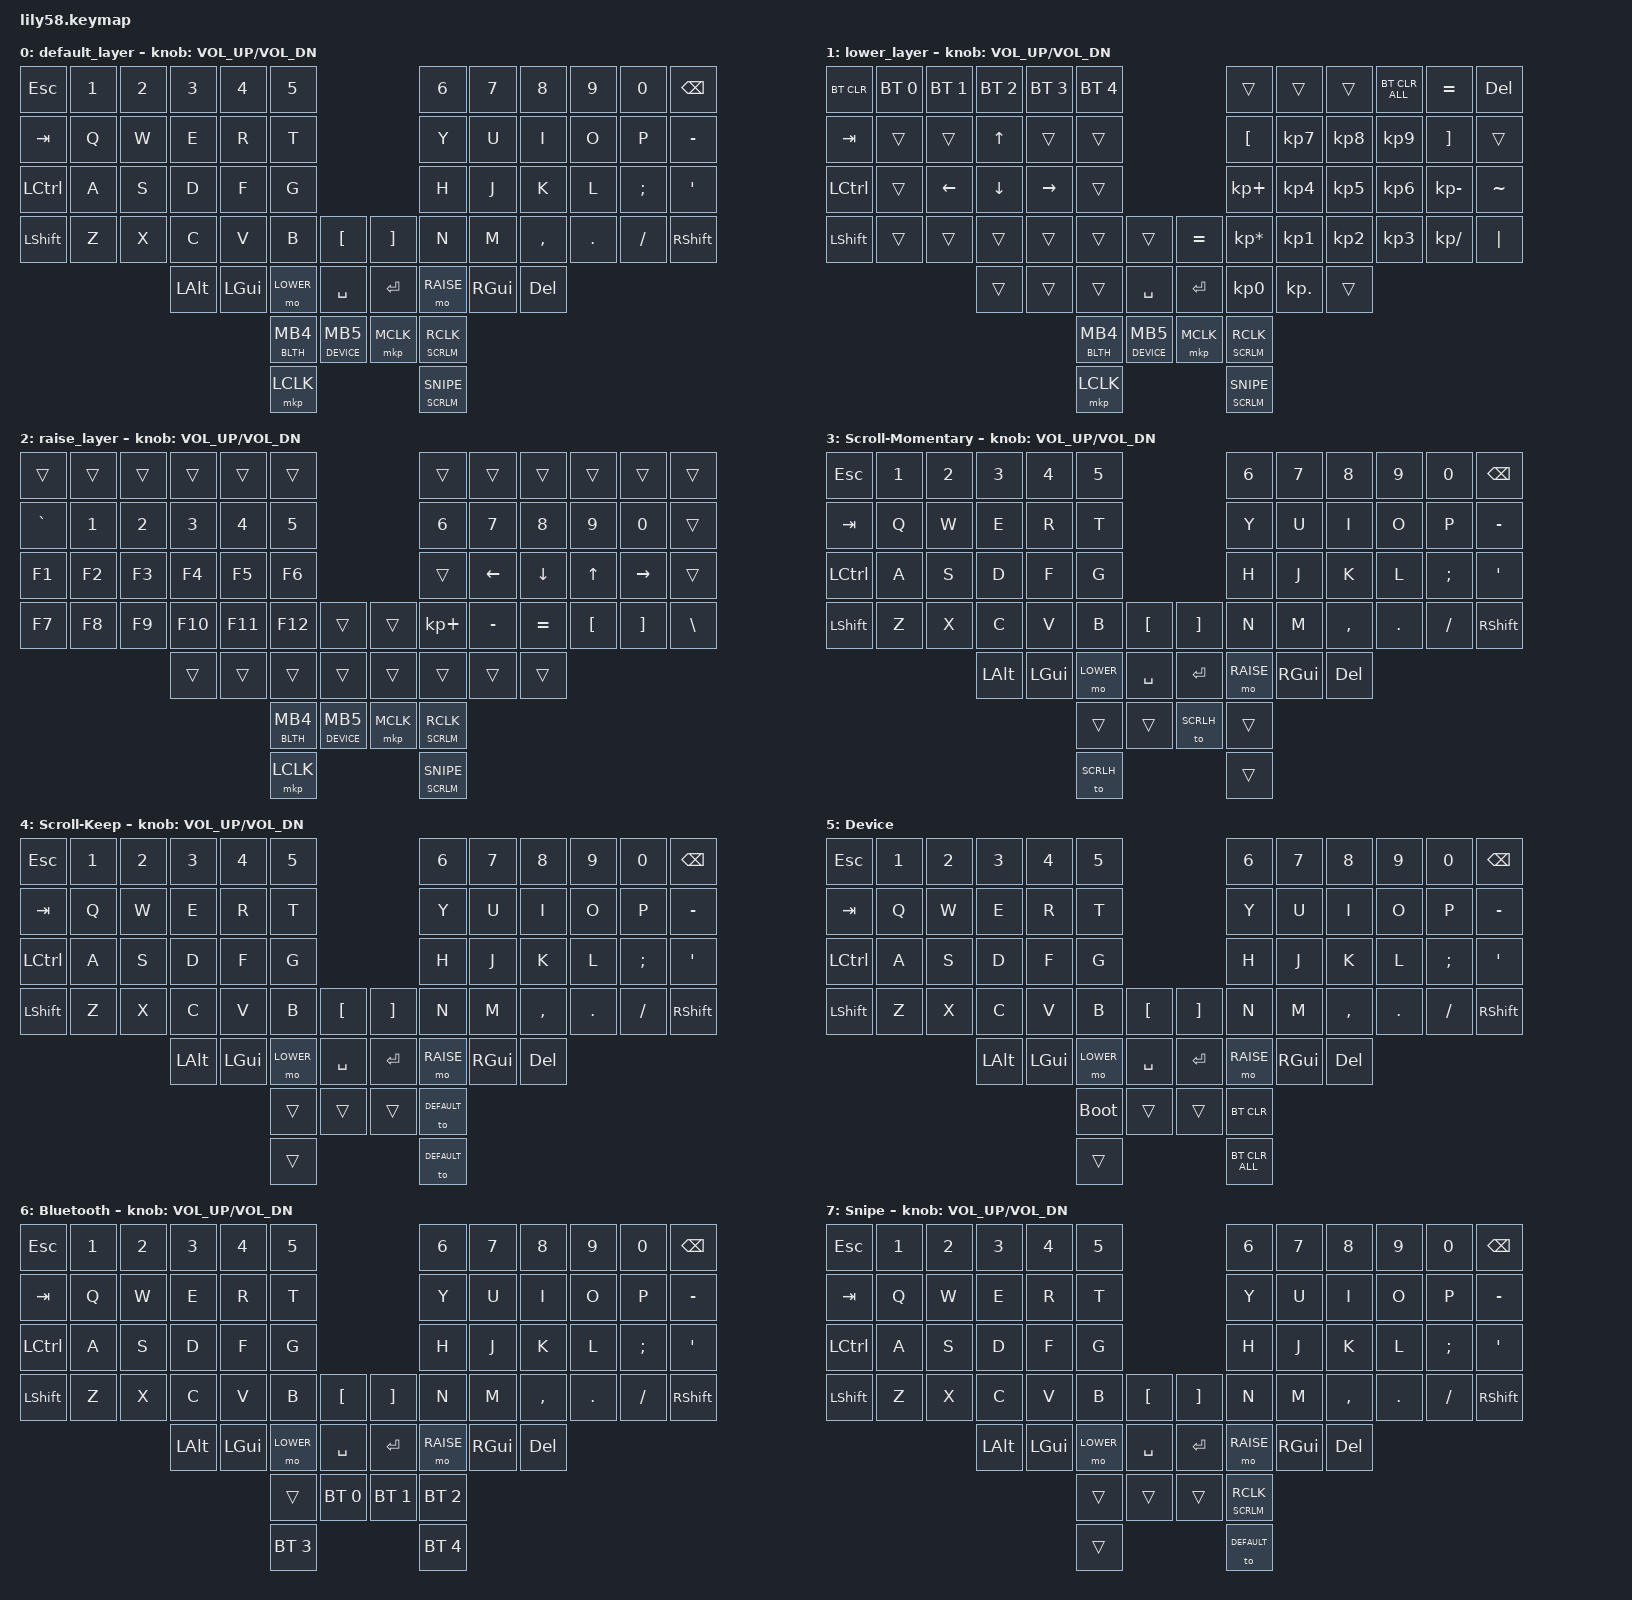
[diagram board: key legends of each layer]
/*
 * Copyright (c) 2020 The ZMK Contributors
 *
 * SPDX-License-Identifier: MIT
 */

#include <behaviors.dtsi>
#include <dt-bindings/zmk/keys.h>
#include <dt-bindings/zmk/bt.h>
#include <dt-bindings/zmk/ext_power.h>
#include <dt-bindings/zmk/outputs.h>
#include <dt-bindings/zmk/pointing.h>

#define DEFAULT 0
#define LOWER 1
#define RAISE 2

#define BASE 3
#define SCRLM 4
#define SCRLH 5
#define DEVICE 6
#define BLTH 7
#define SNIPE 8

/ {
    combos {
    compatible = "zmk,combos";
    combo_esc {
        timeout-ms = <50>;
        key-positions = <2 3>;
        bindings = <&mkp RCLK>;
        };
    };
    behaviors {
        ltm: layer-tap-momentary {
            compatible = "zmk,behavior-hold-tap";
            #binding-cells = <2>;
            flavor = "tap-preferred";
            tapping-term-ms = <200>;
            bindings = <&mo>, <&mkp>;
        };
        lth: layer-tap-hold-while-undecided {
            compatible = "zmk,behavior-hold-tap";
            #binding-cells = <2>;
            flavor = "hold-preferred";
            hold-while-undecided;
            tapping-term-ms = <150>;
            bindings = <&mo>, <&mkp>;
        };
        mto: momentary-or-toggle {
            compatible = "zmk,behavior-hold-tap";
            #binding-cells = <2>;
            flavor = "hold-preferred";
            hold-while-undecided;
            tapping-term-ms = <200>;
            bindings = <&mo>, <&to>;
        };
    };
    keymap {
        compatible = "zmk,keymap";

        default_layer {
    // ------------------------------------------------------------------------------------------------------------
    // |  ESC  |  1  |  2  |  3   |  4   |  5   |                        |  6   |  7    |  8    |  9   |   0   | BK SP |
    // |  TAB  |  Q  |  W  |  E   |  R   |  T   |                        |  Y   |  U    |  I    |  O   |   P   |   -   |
    // |  CTRL |  A  |  S  |  D   |  F   |  G   |                        |  H   |  J    |  K    |  L   |   ;   |   '   |
    // | SHIFT |  Z  |  X  |  C   |  V   |  B   |     "["  |  |  "]"     |  N   |  M    |  ,    |  .   |   /   | SHIFT |
    //                     | LALT | GUI  |LOWER |  SPACE   |  |  ENTER   | RAISE| GUI   | DEL   |
    //
    //                                          MB1     MB2     MB3     MB4
    //                                          MB0                     MB5
    //
                bindings = <
    &kp ESC   &kp N1 &kp N2 &kp N3   &kp N4   &kp N5                            &kp N6     &kp N7   &kp N8    &kp N9  &kp N0   &kp BSPC
    &kp TAB   &kp Q  &kp W  &kp E    &kp R    &kp T                             &kp Y      &kp U    &kp I     &kp O   &kp P    &kp MINUS
    &kp LCTRL &kp A  &kp S  &kp D    &kp F    &kp G                             &kp H      &kp J    &kp K     &kp L   &kp SEMI &kp SQT
    &kp LSHFT &kp Z  &kp X  &kp C    &kp V    &kp B      &kp LBKT   &kp RBKT    &kp N      &kp M    &kp COMMA &kp DOT &kp FSLH &kp RSHFT
                            &kp LALT &kp LGUI &mo LOWER  &kp SPACE  &kp RET     &mo RAISE  &kp RGUI &kp DEL
                
                                            &ltm BLTH MB4 &ltm DEVICE MB5 &mkp MCLK &lth SCRLM RCLK
                                            &mkp LCLK                               &mto SCRLM SNIPE
                >;

                sensor-bindings = <&inc_dec_kp C_VOL_UP C_VOL_DN>;
            };  

       lower_layer {
    //
    // These are changed to match the Charybdis 4x6 as close as possible
    //
    // ------------------------------------------------------------------------------------------------------------
    // | BTCLR | BT1 | BT2 |  BT3 |  BT4 |  BT5 |                   |      |       |       |BTCLR_ALL|   =   |  DEL  |
    // |  TAB  |     |     |  ^   |      |      |                   | "["  |   7   |   8   |   9     |  "]"  |       |
    // | LCTL  |     |  <  |  v   |  >   |      |                   |  +   |   4   |   5   |   6     |   -   |   ~   |
    // | LSHFT |     |     |      |      |      |        |  |   =   |  *   |   1   |   2   |   3     |   /   |  "|"  |
    //                     |      |      |      |  SPACE |  | ENTER |   0  |   .   |       |
    //
    //                                          MB1     MB2     MB3     MB4
    //                                          MB0                     MB5
    //
                bindings = <
    &bt BT_CLR &bt BT_SEL 0     &bt BT_SEL 1      &bt BT_SEL 2 &bt BT_SEL 3 &bt BT_SEL 4                          &trans          &trans      &trans      &bt BT_CLR_ALL    &kp EQUAL     &kp DEL
    &kp TAB    &trans           &trans            &kp UP       &trans       &trans                                &kp LBKT        &kp KP_N7   &kp KP_N8   &kp KP_N9         &kp RBKT      &trans
    &kp LCTRL  &trans           &kp LEFT          &kp DOWN     &kp RIGHT    &trans                                &kp KP_PLUS     &kp KP_N4   &kp KP_N5   &kp KP_N6         &kp KP_MINUS  &kp TILDE
    &kp LSHFT  &trans           &trans            &trans       &trans       &trans       &trans      &kp EQUAL &kp KP_MULTIPLY &kp KP_N1   &kp KP_N2   &kp KP_N3         &kp KP_DIVIDE &kp PIPE
                                                  &trans       &trans       &trans       &kp SPACE   &kp RET      &kp KP_N0       &kp KP_DOT  &trans
    
                                            &ltm BLTH MB4 &ltm DEVICE MB5 &mkp MCLK &lth SCRLM RCLK
                                            &mkp LCLK                               &mto SCRLM SNIPE
                >;

                sensor-bindings = <&inc_dec_kp C_VOL_UP C_VOL_DN>;
            };

        raise_layer {
    // ------------------------------------------------------------------------------------------------------------
    // |       |     |     |      |      |      |                   |      |       |       |      |       |       |
    // |   `   |  1  |  2  |  3   |  4   |  5   |                   |  6   |   7   |   8   |  9   |   0   |       |
    // |   F1  |  F2 |  F3 |  F4  |  F5  |  F6  |                   |      |   <-  |   v   |  ^   |  ->   |       |
    // |   F7  |  F8 |  F9 |  F10 |  F11 |  F12 |        |  |       |  +   |   -   |   =   |  [   |   ]   |   \   |
    //                     |      |      |      |        |  |       |      |       |       |
    //
    //                                          MB1     MB2     MB3     MB4
    //                                          MB0                     MB5
    //
                bindings = <
    &trans    &trans &trans &trans  &trans  &trans                       &trans      &trans    &trans    &trans   &trans    &trans
    &kp GRAVE &kp N1 &kp N2 &kp N3  &kp N4  &kp N5                       &kp N6      &kp N7    &kp N8    &kp N9   &kp N0    &trans
    &kp F1    &kp F2 &kp F3 &kp F4  &kp F5  &kp F6                       &trans      &kp LEFT  &kp DOWN  &kp UP   &kp RIGHT &trans
    &kp F7    &kp F8 &kp F9 &kp F10 &kp F11 &kp F12   &trans   &trans    &kp KP_PLUS &kp MINUS &kp EQUAL &kp LBKT &kp RBKT  &kp BSLH
                            &trans  &trans  &trans    &trans   &trans    &trans      &trans    &trans
                
                                            &ltm BLTH MB4 &ltm DEVICE MB5 &mkp MCLK &lth SCRLM RCLK
                                            &mkp LCLK                               &mto SCRLM SNIPE
                >;

            sensor-bindings = <&inc_dec_kp C_VOL_UP C_VOL_DN>;
        };

        scroll_tap_layer {
            display-name = "Scroll-Momentary";
            bindings = <
    // ------------------------------------------------------------------------------------------------------------
    // |  ESC  |  1  |  2  |  3   |  4   |  5   |                        |  6   |  7    |  8    |  9   |   0   | BK SP |
    // |  TAB  |  Q  |  W  |  E   |  R   |  T   |                        |  Y   |  U    |  I    |  O   |   P   |   -   |
    // |  CTRL |  A  |  S  |  D   |  F   |  G   |                        |  H   |  J    |  K    |  L   |   ;   |   '   |
    // | SHIFT |  Z  |  X  |  C   |  V   |  B   |     "["  |  |  "]"     |  N   |  M    |  ,    |  .   |   /   | SHIFT |
    //                     | LALT | GUI  |LOWER |  SPACE   |  |  ENTER   | RAISE| GUI   | DEL   |
    //
    //                                          MB1     MB2     MB3     MB4
    //                                          MB0                     MB5
    //

    &kp ESC   &kp N1 &kp N2 &kp N3   &kp N4   &kp N5                            &kp N6     &kp N7   &kp N8    &kp N9  &kp N0   &kp BSPC
    &kp TAB   &kp Q  &kp W  &kp E    &kp R    &kp T                             &kp Y      &kp U    &kp I     &kp O   &kp P    &kp MINUS
    &kp LCTRL &kp A  &kp S  &kp D    &kp F    &kp G                             &kp H      &kp J    &kp K     &kp L   &kp SEMI &kp SQT
    &kp LSHFT &kp Z  &kp X  &kp C    &kp V    &kp B      &kp LBKT   &kp RBKT    &kp N      &kp M    &kp COMMA &kp DOT &kp FSLH &kp RSHFT
                            &kp LALT &kp LGUI &mo LOWER  &kp SPACE  &kp RET     &mo RAISE  &kp RGUI &kp DEL

                &trans &trans &to SCRLH &trans
                &to SCRLH               &trans
            >;

            sensor-bindings = <&inc_dec_kp C_VOL_UP C_VOL_DN>;
        };
        scroll_hold_layer {
            display-name = "Scroll-Keep";
            bindings = <
    // ------------------------------------------------------------------------------------------------------------
    // |  ESC  |  1  |  2  |  3   |  4   |  5   |                        |  6   |  7    |  8    |  9   |   0   | BK SP |
    // |  TAB  |  Q  |  W  |  E   |  R   |  T   |                        |  Y   |  U    |  I    |  O   |   P   |   -   |
    // |  CTRL |  A  |  S  |  D   |  F   |  G   |                        |  H   |  J    |  K    |  L   |   ;   |   '   |
    // | SHIFT |  Z  |  X  |  C   |  V   |  B   |     "["  |  |  "]"     |  N   |  M    |  ,    |  .   |   /   | SHIFT |
    //                     | LALT | GUI  |LOWER |  SPACE   |  |  ENTER   | RAISE| GUI   | DEL   |
    //
    //                                          MB1     MB2     MB3     MB4
    //                                          MB0                     MB5
    //

    &kp ESC   &kp N1 &kp N2 &kp N3   &kp N4   &kp N5                            &kp N6     &kp N7   &kp N8    &kp N9  &kp N0   &kp BSPC
    &kp TAB   &kp Q  &kp W  &kp E    &kp R    &kp T                             &kp Y      &kp U    &kp I     &kp O   &kp P    &kp MINUS
    &kp LCTRL &kp A  &kp S  &kp D    &kp F    &kp G                             &kp H      &kp J    &kp K     &kp L   &kp SEMI &kp SQT
    &kp LSHFT &kp Z  &kp X  &kp C    &kp V    &kp B      &kp LBKT   &kp RBKT    &kp N      &kp M    &kp COMMA &kp DOT &kp FSLH &kp RSHFT
                            &kp LALT &kp LGUI &mo LOWER  &kp SPACE  &kp RET     &mo RAISE  &kp RGUI &kp DEL
                
                &trans &trans &trans &to DEFAULT
                &trans               &to DEFAULT
            >;
            sensor-bindings = <&inc_dec_kp C_VOL_UP C_VOL_DN>;

        };
        device_layer {
            display-name = "Device";
            bindings = <
    // ------------------------------------------------------------------------------------------------------------
    // |  ESC  |  1  |  2  |  3   |  4   |  5   |                        |  6   |  7    |  8    |  9   |   0   | BK SP |
    // |  TAB  |  Q  |  W  |  E   |  R   |  T   |                        |  Y   |  U    |  I    |  O   |   P   |   -   |
    // |  CTRL |  A  |  S  |  D   |  F   |  G   |                        |  H   |  J    |  K    |  L   |   ;   |   '   |
    // | SHIFT |  Z  |  X  |  C   |  V   |  B   |     "["  |  |  "]"     |  N   |  M    |  ,    |  .   |   /   | SHIFT |
    //                     | LALT | GUI  |LOWER |  SPACE   |  |  ENTER   | RAISE| GUI   | DEL   |
    //
    //                                          MB1     MB2     MB3     MB4
    //                                          MB0                     MB5
    //

    &kp ESC   &kp N1 &kp N2 &kp N3   &kp N4   &kp N5                            &kp N6     &kp N7   &kp N8    &kp N9  &kp N0   &kp BSPC
    &kp TAB   &kp Q  &kp W  &kp E    &kp R    &kp T                             &kp Y      &kp U    &kp I     &kp O   &kp P    &kp MINUS
    &kp LCTRL &kp A  &kp S  &kp D    &kp F    &kp G                             &kp H      &kp J    &kp K     &kp L   &kp SEMI &kp SQT
    &kp LSHFT &kp Z  &kp X  &kp C    &kp V    &kp B      &kp LBKT   &kp RBKT    &kp N      &kp M    &kp COMMA &kp DOT &kp FSLH &kp RSHFT
                            &kp LALT &kp LGUI &mo LOWER  &kp SPACE  &kp RET     &mo RAISE  &kp RGUI &kp DEL

                &bootloader &trans &trans &bt BT_CLR
                &trans                    &bt BT_CLR_ALL
            >;
        };
        bluetooth_layer {
            display-name = "Bluetooth";
            bindings = <
    // ------------------------------------------------------------------------------------------------------------
    // |  ESC  |  1  |  2  |  3   |  4   |  5   |                        |  6   |  7    |  8    |  9   |   0   | BK SP |
    // |  TAB  |  Q  |  W  |  E   |  R   |  T   |                        |  Y   |  U    |  I    |  O   |   P   |   -   |
    // |  CTRL |  A  |  S  |  D   |  F   |  G   |                        |  H   |  J    |  K    |  L   |   ;   |   '   |
    // | SHIFT |  Z  |  X  |  C   |  V   |  B   |     "["  |  |  "]"     |  N   |  M    |  ,    |  .   |   /   | SHIFT |
    //                     | LALT | GUI  |LOWER |  SPACE   |  |  ENTER   | RAISE| GUI   | DEL   |
    //
    //                                          MB1     MB2     MB3     MB4
    //                                          MB0                     MB5
    //

    &kp ESC   &kp N1 &kp N2 &kp N3   &kp N4   &kp N5                            &kp N6     &kp N7   &kp N8    &kp N9  &kp N0   &kp BSPC
    &kp TAB   &kp Q  &kp W  &kp E    &kp R    &kp T                             &kp Y      &kp U    &kp I     &kp O   &kp P    &kp MINUS
    &kp LCTRL &kp A  &kp S  &kp D    &kp F    &kp G                             &kp H      &kp J    &kp K     &kp L   &kp SEMI &kp SQT
    &kp LSHFT &kp Z  &kp X  &kp C    &kp V    &kp B      &kp LBKT   &kp RBKT    &kp N      &kp M    &kp COMMA &kp DOT &kp FSLH &kp RSHFT
                            &kp LALT &kp LGUI &mo LOWER  &kp SPACE  &kp RET     &mo RAISE  &kp RGUI &kp DEL

                &trans &bt BT_SEL 0 &bt BT_SEL 1 &bt BT_SEL 2
                &bt BT_SEL 3                     &bt BT_SEL 4
            >;
            sensor-bindings = <&inc_dec_kp C_VOL_UP C_VOL_DN>;

        };
        snipe_layer {
            display-name = "Snipe";
            bindings = <
    // ------------------------------------------------------------------------------------------------------------
    // |  ESC  |  1  |  2  |  3   |  4   |  5   |                        |  6   |  7    |  8    |  9   |   0   | BK SP |
    // |  TAB  |  Q  |  W  |  E   |  R   |  T   |                        |  Y   |  U    |  I    |  O   |   P   |   -   |
    // |  CTRL |  A  |  S  |  D   |  F   |  G   |                        |  H   |  J    |  K    |  L   |   ;   |   '   |
    // | SHIFT |  Z  |  X  |  C   |  V   |  B   |     "["  |  |  "]"     |  N   |  M    |  ,    |  .   |   /   | SHIFT |
    //                     | LALT | GUI  |LOWER |  SPACE   |  |  ENTER   | RAISE| GUI   | DEL   |
    //
    //                                          MB1     MB2     MB3     MB4
    //                                          MB0                     MB5
    //

    &kp ESC   &kp N1 &kp N2 &kp N3   &kp N4   &kp N5                            &kp N6     &kp N7   &kp N8    &kp N9  &kp N0   &kp BSPC
    &kp TAB   &kp Q  &kp W  &kp E    &kp R    &kp T                             &kp Y      &kp U    &kp I     &kp O   &kp P    &kp MINUS
    &kp LCTRL &kp A  &kp S  &kp D    &kp F    &kp G                             &kp H      &kp J    &kp K     &kp L   &kp SEMI &kp SQT
    &kp LSHFT &kp Z  &kp X  &kp C    &kp V    &kp B      &kp LBKT   &kp RBKT    &kp N      &kp M    &kp COMMA &kp DOT &kp FSLH &kp RSHFT
                            &kp LALT &kp LGUI &mo LOWER  &kp SPACE  &kp RET     &mo RAISE  &kp RGUI &kp DEL

                &trans &trans &trans &lth SCRLM RCLK
                &trans               &to DEFAULT
            >;
            sensor-bindings = <&inc_dec_kp C_VOL_UP C_VOL_DN>;

        };
    };
};
